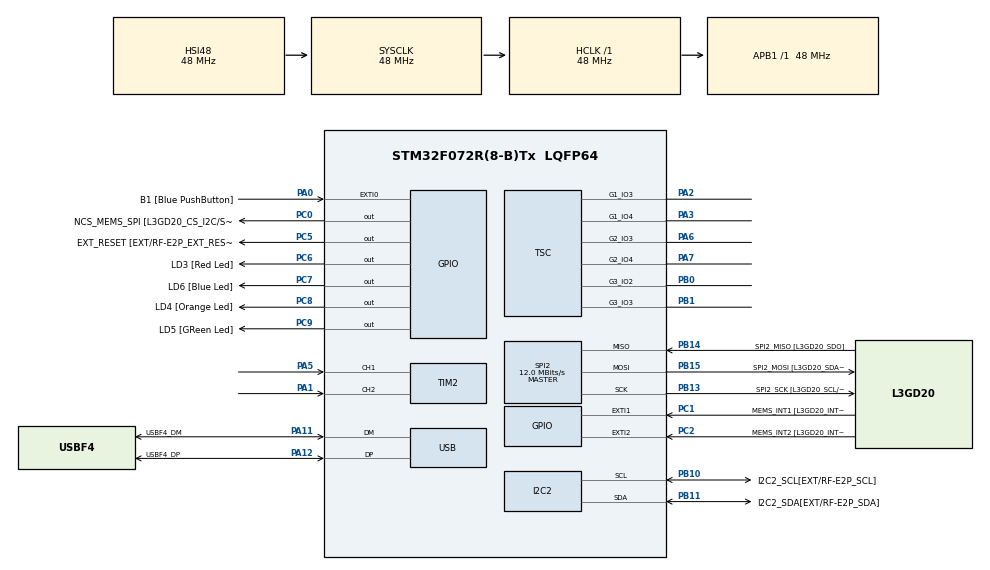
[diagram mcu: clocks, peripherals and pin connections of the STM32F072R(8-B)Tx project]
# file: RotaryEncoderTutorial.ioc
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I2C2.Timing=0x20303E5D
Mcu.Family=STM32F0
Mcu.Name=STM32F072R(8-B)Tx
Mcu.Package=LQFP64
NVIC.TIM2_IRQn=true\:0\:0\:false\:false\:true\:true\:true
NVIC.USB_IRQn=true\:0\:0\:false\:false\:true\:false\:true
PA0.GPIO_Label=B1 [Blue PushButton]
PA0.GPIO_ModeDefaultEXTI=GPIO_MODE_EVT_RISING
PA0.Signal=GPXTI0
PA1.Signal=S_TIM2_CH2
PA11.GPIO_Label=USBF4_DM
PA11.Mode=Device
PA11.Signal=USB_DM
PA12.GPIO_Label=USBF4_DP
PA12.Mode=Device
PA12.Signal=USB_DP
PA13.GPIO_Label=SWDIO
PA13.Mode=Serial_Wire
PA13.Signal=SYS_SWDIO
PA14.GPIO_Label=SWCLK
PA14.Mode=Serial_Wire
PA14.Signal=SYS_SWCLK
PA2.Mode=G1_IO3-Channel
PA2.Signal=TSC_G1_IO3
PA3.Mode=G1_IO4-Sampling
PA3.Signal=TSC_G1_IO4
PA5.Signal=S_TIM2_CH1_ETR
PA6.Mode=G2_IO3-Channel
PA6.Signal=TSC_G2_IO3
PA7.Mode=G2_IO4-Sampling
PA7.Signal=TSC_G2_IO4
PB0.Mode=G3_IO2-Channel
PB0.Signal=TSC_G3_IO2
PB1.Mode=G3_IO3-Sampling
PB1.Signal=TSC_G3_IO3
PB10.GPIO_Label=I2C2_SCL[EXT/RF-E2P_SCL]
PB10.GPIO_Pu=GPIO_PULLUP
PB10.Mode=I2C
PB10.Signal=I2C2_SCL
PB11.GPIO_Label=I2C2_SDA[EXT/RF-E2P_SDA]
PB11.GPIO_Pu=GPIO_PULLUP
PB11.Mode=I2C
PB11.Signal=I2C2_SDA
PB13.GPIO_Label=SPI2_SCK [L3GD20_SCL/SPC]
PB13.Mode=Full_Duplex_Master
PB13.Signal=SPI2_SCK
PB14.GPIO_Label=SPI2_MISO [L3GD20_SDO]
PB14.Mode=Full_Duplex_Master
PB14.Signal=SPI2_MISO
PB15.GPIO_Label=SPI2_MOSI [L3GD20_SDA/SDI]
PB15.Mode=Full_Duplex_Master
PB15.Signal=SPI2_MOSI
PC0.GPIO_Label=NCS_MEMS_SPI [L3GD20_CS_I2C/SPI]
PC0.Signal=GPIO_Output
PC1.GPIO_Label=MEMS_INT1 [L3GD20_INT1]
PC1.GPIO_ModeDefaultEXTI=GPIO_MODE_EVT_RISING
PC1.Signal=GPXTI1
PC2.GPIO_Label=MEMS_INT2 [L3GD20_INT2]
PC2.GPIO_ModeDefaultEXTI=GPIO_MODE_EVT_RISING
PC2.Signal=GPXTI2
PC5.GPIO_Label=EXT_RESET [EXT/RF-E2P_EXT_RESET]
PC5.Signal=GPIO_Output
PC6.GPIO_Label=LD3 [Red Led]
PC6.Signal=GPIO_Output
PC7.GPIO_Label=LD6 [Blue Led]
PC7.Signal=GPIO_Output
PC8.GPIO_Label=LD4 [Orange Led]
PC8.Signal=GPIO_Output
PC9.GPIO_Label=LD5 [GReen Led]
PC9.Signal=GPIO_Output
PF0-OSC_IN.Mode=HSE-External-Oscillator
PF0-OSC_IN.Signal=RCC_OSC_IN
PF1-OSC_OUT.Mode=HSE-External-Oscillator
PF1-OSC_OUT.Signal=RCC_OSC_OUT
ProjectManager.HeapSize=0x200
ProjectManager.StackSize=0x400
ProjectManager.TargetToolchain=STM32CubeIDE
RCC.AHBFreq_Value=48000000
RCC.APB1Freq_Value=48000000
RCC.APB1TimFreq_Value=48000000
RCC.HCLKFreq_Value=48000000
RCC.PLLMUL=RCC_PLL_MUL6
RCC.PLLSourceVirtual=RCC_PLLSOURCE_HSE
RCC.SYSCLKFreq_VALUE=48000000
RCC.SYSCLKSource=RCC_SYSCLKSOURCE_HSI48
SH.S_TIM2_CH1_ETR.0=TIM2_CH1,Encoder_Interface
SH.S_TIM2_CH2.0=TIM2_CH2,Encoder_Interface
SPI2.BaudRatePrescaler=SPI_BAUDRATEPRESCALER_4
SPI2.CalculateBaudRate=12.0 MBits/s
SPI2.Direction=SPI_DIRECTION_2LINES
SPI2.Mode=SPI_MODE_MASTER
SPI2.VirtualType=VM_MASTER
TIM2.EncoderMode=TIM_ENCODERMODE_TI12
TIM2.IC1Polarity=TIM_ICPOLARITY_FALLING
TIM2.IC2Polarity=TIM_ICPOLARITY_FALLING
USB_DEVICE.CLASS_NAME_FS=HID
USB_DEVICE.PRODUCT_STRING_HID_FS=STM32 KEYBOARD
USB_DEVICE.VirtualMode=Hid
USB_DEVICE.VirtualModeFS=Hid_FS
VP_USB_DEVICE_VS_USB_DEVICE_HID_FS.Mode=HID_FS
board=STM32F072B-DISCO

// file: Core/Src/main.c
/* USER CODE BEGIN Header */
/**
  ******************************************************************************
  * @file           : main.c
  * @brief          : Main program body
  ******************************************************************************
  * @attention
  *
  * Copyright (c) 2022 STMicroelectronics.
  * All rights reserved.
  *
  * This software is licensed under terms that can be found in the LICENSE file
  * in the root directory of this software component.
  * If no LICENSE file comes with this software, it is provided AS-IS.
  *
  ******************************************************************************
  */
/* USER CODE END Header */
#include "main.h"
#include "usb_device.h"
#include "gpio.h"

/* USER CODE BEGIN Includes */
#include "usbd_hid.h"
/* USER CODE END Includes */

/* USER CODE BEGIN PD */
#define NUM_BUTTONS 8
#define MODIFIER_INDEX
#define KEYCODE_1_INDEX
#define PACKET_SIZE 8
// Button Port Defines
#define GPIO_BUTTON_1_PIN GPIO_PIN_9
#define GPIO_BUTTON_1_PORT GPIOA
#define GPIO_BUTTON_2_PIN GPIO_PIN_8
#define GPIO_BUTTON_2_PORT GPIOA
#define GPIO_BUTTON_3_PIN GPIO_PIN_15
#define GPIO_BUTTON_3_PORT GPIOB
#define GPIO_BUTTON_4_PIN GPIO_PIN_14
#define GPIO_BUTTON_4_PORT GPIOB
#define GPIO_BUTTON_5_PIN GPIO_PIN_13
#define GPIO_BUTTON_5_PORT GPIOB
#define SET_ALL_BUTTONS 0xFFFF

/* USER CODE END PD */

I2C_HandleTypeDef hi2c2;

SPI_HandleTypeDef hspi2;

TIM_HandleTypeDef htim2;

TSC_HandleTypeDef htsc;

extern USBD_HandleTypeDef hUsbDeviceFS;

typedef enum  {false, true} bool;
typedef enum {active, inactive, serviced} state;

typedef enum {noEvent, errorRollOver, postFail, errorUndefined, letter_a, letter_b, letter_c,
	letter_d, letter_e, letter_f, letter_g, letter_h, letter_i, letter_j, letter_k, letter_l,
	letter_m, letter_n, letter_o, letter_p, letter_q, letter_r, letter_s, letter_t, letter_u,
	letter_v, letter_w, letter_x, letter_y, letter_z, number_1, number_2, number_3, number_4,
	number_5, number_6, number_7, number_8, number_9, number_0, command_Enter, command_Escape,
	command_Delete, command_Tab, command_Space, command_Minus, command_Equal, command_LeftKey = 0x50, command_RightKey = 0x4F,
	command_Spacebar = 0x2C} key; // More to Add!

typedef enum {leftCtrl = 1, leftShift = 2, leftAlt = 4, leftGUI = 8, rightCtrl = 16,
	rightShift = 32, rightAlt = 64,rightGUI = 128
} modifier;
typedef struct
{
	uint8_t modifier;
	uint8_t reserved;
	uint8_t keycode_1;
	uint8_t keycode_2;
	uint8_t keycode_3;
	uint8_t keycode_4;
	uint8_t keycode_5;
	uint8_t keycode_6;

} packetStruct;

typedef union buttonMapping
{
	uint8_t packetBuffer[PACKET_SIZE];
	packetStruct packet;
} buttonMapping; // mapping for a single button

typedef struct buttonStates
{
	uint16_t buttonState_1 : 2;
	uint16_t buttonState_2 : 2;
	uint16_t buttonState_3 : 2;
	uint16_t buttonState_4 : 2;
	uint16_t buttonState_5 : 2;
	uint16_t buttonState_6 : 2;
	uint16_t buttonState_7 : 2;
	uint16_t buttonState_8 : 2;
} buttonStates;
typedef struct GlobalState
{
	buttonMapping buttonMappings[NUM_BUTTONS];
	buttonStates buttonPressed;
} GlobalState; // holds state

/* USER CODE END PFP */

/* USER CODE BEGIN 0 */
/* Private function prototypes -----------------------------------------------*/
void SystemClock_Config(void);
static void MX_I2C2_Init(void);
static void MX_SPI2_Init(void);
static void MX_TSC_Init(void);
static void MX_TIM2_Init(void);
//static void MX_GPIO_Init(void);
/* USER CODE BEGIN PFP */

void PollUserInput(void);
void InitShuttle(void);
void WriteOutputToPC(USBD_HandleTypeDef*);
void WriteButtonState(state val, int buttonIndex);
state ReadButtonState(int buttonIndex);

/* USER CODE BEGIN PV */
bool System_Init(void);
GlobalState globalState;
uint8_t testbuf[8] = {0};
packetStruct keyboardhid = {0};
// Encoder Test Variables
int counter = 0;
int16_t count =0; // defined to deal with underflow of case of counter going below 0
int16_t position = 0; //position of encoder
int16_t old_position = 0;
extern USBD_HandleTypeDef hUsbDeviceFS;
//uint8_t HID_buffer[8] = {0};
/* USER CODE END PV */

void HAL_TIM_IC_CaptureCallback(TIM_HandleTypeDef *htim) {

	counter = __HAL_TIM_GET_COUNTER(htim);
	count = (int16_t)counter;
	position = count/4;

}

/* USER CODE END 0 */

int main(void)
{

  /* MCU Configuration--------------------------------------------------------*/

  /* Reset of all peripherals, Initializes the Flash interface and the Systick. */
  HAL_Init();

  /* Configure the system clock */
  SystemClock_Config();

  /* Initialize all configured peripherals */
  MX_GPIO_Init();
  MX_I2C2_Init();
  MX_SPI2_Init();
  MX_TSC_Init();
  MX_TIM2_Init();
  MX_USB_DEVICE_Init();
  InitShuttle(); // Initiailize data structures
  /* USER CODE BEGIN 2 */

  HAL_TIM_Encoder_Start_IT(&htim2, TIM_CHANNEL_ALL);

  /* USER CODE END 2 */

  /* Infinite loop */
  /* USER CODE BEGIN WHILE */
  while (1)
  {

	  PollUserInput();
	  WriteOutputToPC(&hUsbDeviceFS);

		 if (position > old_position) {
			 HAL_GPIO_WritePin(GPIOC, GPIO_PIN_6, 1); //red LED
			 HAL_GPIO_WritePin(GPIOC, GPIO_PIN_7, 0);
			 HAL_GPIO_WritePin(GPIOC, GPIO_PIN_8, 0);
			 old_position = position;
			 HAL_Delay(50);

			 keyboardhid.keycode_1 = 0x4F; // right arrow
		 } else if (position < old_position) {
			 HAL_GPIO_WritePin(GPIOC, GPIO_PIN_7, 1); // blue LED
			 HAL_GPIO_WritePin(GPIOC, GPIO_PIN_6, 0);
			 HAL_GPIO_WritePin(GPIOC, GPIO_PIN_8, 0);
			 old_position = position;
			 HAL_Delay(50);

			 keyboardhid.keycode_1 = 0x50; // left arrow

		 } else if (position == old_position) {
			 HAL_GPIO_WritePin(GPIOC, GPIO_PIN_6, 0);
			 HAL_GPIO_WritePin(GPIOC, GPIO_PIN_7, 0);
			 HAL_GPIO_WritePin(GPIOC, GPIO_PIN_8, 1); // yellow LED

		 }

		  USBD_HID_SendReport(&hUsbDeviceFS, &keyboardhid, sizeof(keyboardhid));
		  HAL_Delay(50);
		  keyboardhid.keycode_1 = 0x00; // release key
		  USBD_HID_SendReport(&hUsbDeviceFS, &keyboardhid, sizeof(keyboardhid));

    /* USER CODE END WHILE */

  }
}

void SystemClock_Config(void)
{
  RCC_OscInitTypeDef RCC_OscInitStruct = {0};
  RCC_ClkInitTypeDef RCC_ClkInitStruct = {0};
  RCC_PeriphCLKInitTypeDef PeriphClkInit = {0};

  /** Initializes the RCC Oscillators according to the specified parameters
  * in the RCC_OscInitTypeDef structure.
  */
  RCC_OscInitStruct.OscillatorType = RCC_OSCILLATORTYPE_HSI48;
  RCC_OscInitStruct.HSI48State = RCC_HSI48_ON;
  RCC_OscInitStruct.PLL.PLLState = RCC_PLL_NONE;
  if (HAL_RCC_OscConfig(&RCC_OscInitStruct) != HAL_OK)
  {
    Error_Handler();
  }
  /** Initializes the CPU, AHB and APB buses clocks
  */
  RCC_ClkInitStruct.ClockType = RCC_CLOCKTYPE_HCLK|RCC_CLOCKTYPE_SYSCLK
                              |RCC_CLOCKTYPE_PCLK1;
  RCC_ClkInitStruct.SYSCLKSource = RCC_SYSCLKSOURCE_HSI48;
  RCC_ClkInitStruct.AHBCLKDivider = RCC_SYSCLK_DIV1;
  RCC_ClkInitStruct.APB1CLKDivider = RCC_HCLK_DIV1;

  if (HAL_RCC_ClockConfig(&RCC_ClkInitStruct, FLASH_LATENCY_1) != HAL_OK)
  {
    Error_Handler();
  }
  PeriphClkInit.PeriphClockSelection = RCC_PERIPHCLK_USB;
  PeriphClkInit.UsbClockSelection = RCC_USBCLKSOURCE_HSI48;

  if (HAL_RCCEx_PeriphCLKConfig(&PeriphClkInit) != HAL_OK)
  {
    Error_Handler();
  }
}

static void MX_I2C2_Init(void)
{

  hi2c2.Instance = I2C2;
  hi2c2.Init.Timing = 0x20303E5D;
  hi2c2.Init.OwnAddress1 = 0;
  hi2c2.Init.AddressingMode = I2C_ADDRESSINGMODE_7BIT;
  hi2c2.Init.DualAddressMode = I2C_DUALADDRESS_DISABLE;
  hi2c2.Init.OwnAddress2 = 0;
  hi2c2.Init.OwnAddress2Masks = I2C_OA2_NOMASK;
  hi2c2.Init.GeneralCallMode = I2C_GENERALCALL_DISABLE;
  hi2c2.Init.NoStretchMode = I2C_NOSTRETCH_DISABLE;
  if (HAL_I2C_Init(&hi2c2) != HAL_OK)
  {
    Error_Handler();
  }
  /** Configure Analogue filter
  */
  if (HAL_I2CEx_ConfigAnalogFilter(&hi2c2, I2C_ANALOGFILTER_ENABLE) != HAL_OK)
  {
    Error_Handler();
  }
  /** Configure Digital filter
  */
  if (HAL_I2CEx_ConfigDigitalFilter(&hi2c2, 0) != HAL_OK)
  {
    Error_Handler();
  }

}

static void MX_SPI2_Init(void)
{

  /* SPI2 parameter configuration*/
  hspi2.Instance = SPI2;
  hspi2.Init.Mode = SPI_MODE_MASTER;
  hspi2.Init.Direction = SPI_DIRECTION_2LINES;
  hspi2.Init.DataSize = SPI_DATASIZE_4BIT;
  hspi2.Init.CLKPolarity = SPI_POLARITY_LOW;
  hspi2.Init.CLKPhase = SPI_PHASE_1EDGE;
  hspi2.Init.NSS = SPI_NSS_SOFT;
  hspi2.Init.BaudRatePrescaler = SPI_BAUDRATEPRESCALER_4;
  hspi2.Init.FirstBit = SPI_FIRSTBIT_MSB;
  hspi2.Init.TIMode = SPI_TIMODE_DISABLE;
  hspi2.Init.CRCCalculation = SPI_CRCCALCULATION_DISABLE;
  hspi2.Init.CRCPolynomial = 7;
  hspi2.Init.CRCLength = SPI_CRC_LENGTH_DATASIZE;
  hspi2.Init.NSSPMode = SPI_NSS_PULSE_ENABLE;
  if (HAL_SPI_Init(&hspi2) != HAL_OK)
  {
    Error_Handler();
  }

}

static void MX_TIM2_Init(void)
{

  TIM_Encoder_InitTypeDef sConfig = {0};
  TIM_MasterConfigTypeDef sMasterConfig = {0};

  htim2.Instance = TIM2;
  htim2.Init.Prescaler = 0;
  htim2.Init.CounterMode = TIM_COUNTERMODE_UP;
  htim2.Init.Period = 4294967295;
  htim2.Init.ClockDivision = TIM_CLOCKDIVISION_DIV1;
  htim2.Init.AutoReloadPreload = TIM_AUTORELOAD_PRELOAD_DISABLE;
  sConfig.EncoderMode = TIM_ENCODERMODE_TI12;
  sConfig.IC1Polarity = TIM_ICPOLARITY_FALLING;
  sConfig.IC1Selection = TIM_ICSELECTION_DIRECTTI;
  sConfig.IC1Prescaler = TIM_ICPSC_DIV1;
  sConfig.IC1Filter = 0;
  sConfig.IC2Polarity = TIM_ICPOLARITY_FALLING;
  sConfig.IC2Selection = TIM_ICSELECTION_DIRECTTI;
  sConfig.IC2Prescaler = TIM_ICPSC_DIV1;
  sConfig.IC2Filter = 0;
  if (HAL_TIM_Encoder_Init(&htim2, &sConfig) != HAL_OK)
  {
    Error_Handler();
  }
  sMasterConfig.MasterOutputTrigger = TIM_TRGO_RESET;
  sMasterConfig.MasterSlaveMode = TIM_MASTERSLAVEMODE_DISABLE;
  if (HAL_TIMEx_MasterConfigSynchronization(&htim2, &sMasterConfig) != HAL_OK)
  {
    Error_Handler();
  }

}

static void MX_TSC_Init(void)
{

  /** Configure the TSC peripheral
  */
  htsc.Instance = TSC;
  htsc.Init.CTPulseHighLength = TSC_CTPH_2CYCLES;
  htsc.Init.CTPulseLowLength = TSC_CTPL_2CYCLES;
  htsc.Init.SpreadSpectrum = DISABLE;
  htsc.Init.SpreadSpectrumDeviation = 1;
  htsc.Init.SpreadSpectrumPrescaler = TSC_SS_PRESC_DIV1;
  htsc.Init.PulseGeneratorPrescaler = TSC_PG_PRESC_DIV4;
  htsc.Init.MaxCountValue = TSC_MCV_8191;
  htsc.Init.IODefaultMode = TSC_IODEF_OUT_PP_LOW;
  htsc.Init.SynchroPinPolarity = TSC_SYNC_POLARITY_FALLING;
  htsc.Init.AcquisitionMode = TSC_ACQ_MODE_NORMAL;
  htsc.Init.MaxCountInterrupt = DISABLE;
  htsc.Init.ChannelIOs = TSC_GROUP1_IO3|TSC_GROUP2_IO3|TSC_GROUP3_IO2;
  htsc.Init.ShieldIOs = 0;
  htsc.Init.SamplingIOs = TSC_GROUP1_IO4|TSC_GROUP2_IO4|TSC_GROUP3_IO3;
  if (HAL_TSC_Init(&htsc) != HAL_OK)
  {
    Error_Handler();
  }

}

//static void MX_GPIO_Init(void)
//{
//  GPIO_InitTypeDef GPIO_InitStruct = {0};
//
//  /* GPIO Ports Clock Enable */
//  __HAL_RCC_GPIOF_CLK_ENABLE();
//  __HAL_RCC_GPIOC_CLK_ENABLE();
//  __HAL_RCC_GPIOA_CLK_ENABLE();
//  __HAL_RCC_GPIOB_CLK_ENABLE();
//
//  /*Configure GPIO pin Output Level */
//  HAL_GPIO_WritePin(GPIOC, NCS_MEMS_SPI_Pin|EXT_RESET_Pin|LD3_Pin|LD6_Pin
//                          |LD4_Pin|LD5_Pin, GPIO_PIN_RESET);
//
//  /*Configure GPIO pins : NCS_MEMS_SPI_Pin EXT_RESET_Pin LD3_Pin LD6_Pin
//                           LD4_Pin LD5_Pin */
//  GPIO_InitStruct.Pin = NCS_MEMS_SPI_Pin|EXT_RESET_Pin|LD3_Pin|LD6_Pin
//                          |LD4_Pin|LD5_Pin;
//  GPIO_InitStruct.Mode = GPIO_MODE_OUTPUT_PP;
//  GPIO_InitStruct.Pull = GPIO_NOPULL;
//  GPIO_InitStruct.Speed = GPIO_SPEED_FREQ_LOW;
//  HAL_GPIO_Init(GPIOC, &GPIO_InitStruct);
//
//  /*Configure GPIO pins : MEMS_INT1_Pin MEMS_INT2_Pin */
//  GPIO_InitStruct.Pin = MEMS_INT1_Pin|MEMS_INT2_Pin;
//  GPIO_InitStruct.Mode = GPIO_MODE_EVT_RISING;
//  GPIO_InitStruct.Pull = GPIO_NOPULL;
//  HAL_GPIO_Init(GPIOC, &GPIO_InitStruct);
//
//  /*Configure GPIO pin : B1_Pin */
//  GPIO_InitStruct.Pin = B1_Pin;
//  GPIO_InitStruct.Mode = GPIO_MODE_EVT_RISING;
//  GPIO_InitStruct.Pull = GPIO_NOPULL;
//  HAL_GPIO_Init(B1_GPIO_Port, &GPIO_InitStruct);
//
//}

void InitShuttle(void)
{
	WriteButtonState(inactive, SET_ALL_BUTTONS); // set all button states to false
	globalState.buttonMappings[0].packet.modifier = 0;
	globalState.buttonMappings[0].packet.keycode_1 = command_Spacebar;
	globalState.buttonMappings[1].packet.modifier = leftCtrl;
	globalState.buttonMappings[1].packet.keycode_1 = letter_t;
	globalState.buttonMappings[2].packet.modifier = 0;
	globalState.buttonMappings[2].packet.keycode_1 = letter_f;
	globalState.buttonMappings[3].packet.modifier = 0;
	globalState.buttonMappings[3].packet.keycode_1 = letter_g;
	globalState.buttonMappings[4].packet.modifier = 0;
	globalState.buttonMappings[4].packet.keycode_1 = letter_h;
}

void PollUserInput(void) // poll for User Input
{
	 	 if(HAL_GPIO_ReadPin(GPIO_BUTTON_1_PORT, GPIO_BUTTON_1_PIN))
		  { if (ReadButtonState(0) == inactive)
			  globalState.buttonPressed.buttonState_1 = active;
		  }
		  else
		  {
			  globalState.buttonPressed.buttonState_1 = inactive;
				uint8_t HID_buffer[8] = {0};
			  USBD_HID_SendReport(&hUsbDeviceFS, HID_buffer, PACKET_SIZE); // Send a null packet
		  }

		  if(HAL_GPIO_ReadPin(GPIO_BUTTON_2_PORT, GPIO_BUTTON_2_PIN))
		  {	if (ReadButtonState(1) == inactive)
			  //HAL_GPIO_WritePin(GPIOC, GPIO_PIN_6, GPIO_PIN_SET);
			  globalState.buttonPressed.buttonState_2 = active;
		  }
		  else
		  {
			  globalState.buttonPressed.buttonState_2 = inactive;
				uint8_t HID_buffer[8] = {0};
			  USBD_HID_SendReport(&hUsbDeviceFS, HID_buffer, PACKET_SIZE); // Send a null packet
		  }

		  if(HAL_GPIO_ReadPin(GPIO_BUTTON_3_PORT, GPIO_BUTTON_3_PIN))
		  {
			  if (ReadButtonState(2) == inactive)
			  globalState.buttonPressed.buttonState_3 = active;
		  }
		  else
		  {
			  globalState.buttonPressed.buttonState_3 = inactive;
				uint8_t HID_buffer[8] = {0};
			  USBD_HID_SendReport(&hUsbDeviceFS, HID_buffer, PACKET_SIZE); // Send a null packet
		  }

		  if(HAL_GPIO_ReadPin(GPIO_BUTTON_4_PORT, GPIO_BUTTON_4_PIN))
		  {
			  if (ReadButtonState(3) == inactive)
			  globalState.buttonPressed.buttonState_4 = active;		  }
		  else
		  {
			  globalState.buttonPressed.buttonState_4 = inactive;
				uint8_t HID_buffer[8] = {0};
	   		USBD_HID_SendReport(&hUsbDeviceFS, HID_buffer, PACKET_SIZE); // Send a null packet
			  			}

		  if(HAL_GPIO_ReadPin(GPIO_BUTTON_5_PORT, GPIO_BUTTON_5_PIN))
		  {
			  if (ReadButtonState(4) == inactive)
			  globalState.buttonPressed.buttonState_5 = active;		  }
		  else
		  {
			  globalState.buttonPressed.buttonState_5 = inactive;
				uint8_t HID_buffer[8] = {0};
			  USBD_HID_SendReport(&hUsbDeviceFS, HID_buffer, PACKET_SIZE); // Send a null packet}
}
				/*HAL_Delay(100);
				USBD_HID_SendReport(&hUsbDeviceFS, HID_buffer, PACKET_SIZE);
				HAL_Delay(100);
				USBD_HID_SendReport(&hUsbDeviceFS, HID_buffer, PACKET_SIZE);
				USBD_HID_SendReport(&hUsbDeviceFS, HID_buffer, PACKET_SIZE);*/
}

void WriteOutputToPC(USBD_HandleTypeDef* hUsbDeviceFS)
{
	for (int i = 0 ; i<NUM_BUTTONS; i++)
	{
		if (ReadButtonState(i) == active)
		{
			USBD_HID_SendReport(hUsbDeviceFS, globalState.buttonMappings[i].packetBuffer, PACKET_SIZE);
			HAL_Delay(100);
			WriteButtonState(serviced, i);
		    USBD_HID_SendReport(hUsbDeviceFS, globalState.buttonMappings[i].packetBuffer, PACKET_SIZE);
			HAL_Delay(100);
			//USBD_HID_SendReport(hUsbDeviceFS, globalState.buttonMappings[i].packetBuffer, PACKET_SIZE);
			//USBD_HID_SendReport(hUsbDeviceFS, globalState.buttonMappings[i].packetBuffer, PACKET_SIZE);
		}
	}
}

void WriteButtonState(state val, int buttonIndex)
{
	switch (buttonIndex)
	{
	case 0:
		globalState.buttonPressed.buttonState_1 = val;
		break;
	case 1:
		globalState.buttonPressed.buttonState_2 = val;
		break;
	case 2:
		globalState.buttonPressed.buttonState_3 = val;
		break;
	case 3:
		globalState.buttonPressed.buttonState_4 = val;
		break;
	case 4:
		globalState.buttonPressed.buttonState_5 = val;
		break;
	case 5:
		globalState.buttonPressed.buttonState_6 = val;
		break;
	case 6:
		globalState.buttonPressed.buttonState_7 = val;
		break;
	case 7:
		globalState.buttonPressed.buttonState_8 = val;
		break;
	case SET_ALL_BUTTONS:
		for (int i = 0 ; i < NUM_BUTTONS ; i++)
		{
			WriteButtonState(val, i);
		}
		break;
	}

	return;
}

state ReadButtonState(int buttonIndex)
{
	state val;
	switch (buttonIndex)
	{
	case 0:
		val = globalState.buttonPressed.buttonState_1;
		break;
	case 1:
		val = globalState.buttonPressed.buttonState_2;
		break;
	case 2:
		val = globalState.buttonPressed.buttonState_3;
		break;
	case 3:
		val = globalState.buttonPressed.buttonState_4;
		break;
	case 4:
		val = globalState.buttonPressed.buttonState_5;
		break;
	case 5:
		val = globalState.buttonPressed.buttonState_6;
		break;
	case 6:
		val = globalState.buttonPressed.buttonState_7;
		break;
	case 7:
		val = globalState.buttonPressed.buttonState_8;
		break;
	}
	return val;
}

void Error_Handler(void)
{
  __disable_irq();
  while (1)
  {
  }
}
